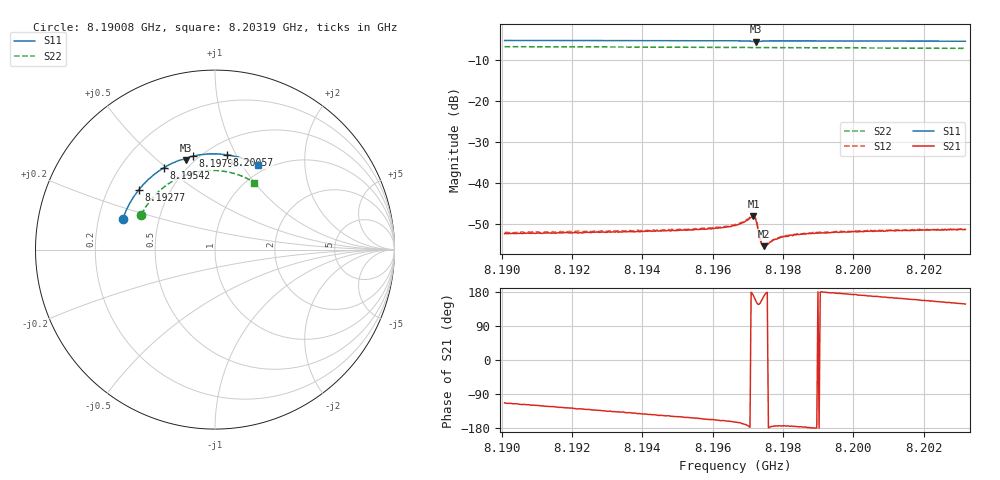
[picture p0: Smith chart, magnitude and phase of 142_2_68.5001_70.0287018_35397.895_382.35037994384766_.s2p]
#  HZ  S  RI  R  50.00
! Rohde & Schwarz Vector Network Analyzer
! Rohde-Schwarz,ZNB20-2Port,1311601062101988,3.16
! Created: UTC 3/20/2024, 4:54:55 PM
! freq[Hz]  re:S11  im:S11  re:S21  im:S21  re:S12  im:S12  re:S22  im:S22
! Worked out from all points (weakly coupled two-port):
!   401 points, 8.19008 GHz to 8.20319 GHz, reference 50 ohm
!   highest |S21| = -48.19 dB at 8.19716 GHz (marker M1); lowest = -55.4 dB at 8.19745 GHz (marker M2)
!   lowest |S11| = -5.6 dB at 8.19722 GHz (marker M3), VSWR 3.19, Z = 22.7 + j31.1 ohm
!   |S11| at or under -10 dB: nowhere
!   |S22| runs from -7.3 to -6.8 dB; largest |S21 - S12| = 0.00022
!   S11 on the Smith chart (normalised r, x): 8.19008 GHz: 0.30, +0.15; 8.19277 GHz: 0.33, +0.31; 8.19542 GHz: 0.38, +0.49; 8.19795 GHz: 0.47, +0.68; 8.20057 GHz: 0.62, +0.92; 8.20319 GHz: 0.90, +1.18
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8.190078e9  -0.5136 0.1699  -0.000943 -0.0022  -0.00105 -0.00225  -0.4104 0.1953
8.192274e9  -0.444 0.3071  -0.00154 -0.00191  -0.00167 -0.00191  -0.3417 0.2957
8.192766e9  -0.4232 0.3347  -0.00169 -0.00184  -0.00181 -0.00181  -0.3228 0.3152
8.19447e9  -0.338 0.419  -0.00216 -0.00142  -0.00227 -0.00144  -0.2484 0.3738
8.195421e9  -0.2827 0.4573  -0.00237 -0.00121  -0.00245 -0.00116  -0.2018 0.3992
8.196208e9  -0.2333 0.4835  -0.00264 -0.000974  -0.00275 -0.000923  -0.161 0.4161
8.196634e9  -0.2046 0.4954  -0.00289 -0.000839  -0.00302 -0.000745  -0.1383 0.4234
8.196863e9  -0.1876 0.5007  -0.00321 -0.000656  -0.00329 -0.000579  -0.1258 0.4269
8.197093e9  -0.1689 0.5022  -0.00378 8.09e-05  -0.00389 0.000243  -0.1133 0.4299
8.197158e9  -0.1643 0.4999  -0.00384 0.000678  -0.00383 0.000871  -0.1096 0.4305
8.197224e9  -0.163 0.4967  -0.00328 0.00141  -0.00331 0.00159  -0.1062 0.4311
8.197355e9  -0.1638 0.5021  -0.00175 0.000971  -0.00174 0.00108  -0.0991 0.4328
8.197388e9  -0.1622 0.5045  -0.00166 0.000699  -0.00166 0.000777  -0.0974 0.4333
8.197453e9  -0.1579 0.508  -0.00166 0.000339  -0.0017 0.000427  -0.0938 0.434
8.197519e9  -0.153 0.5109  -0.00172 9.03e-05  -0.00178 0.000177  -0.0901 0.4345
8.197716e9  -0.1384 0.5165  -0.00199 -0.000169  -0.00202 -5.53e-05  -0.0791 0.4364
8.197945e9  -0.1216 0.521  -0.00218 -0.000222  -0.0022 -0.000162  -0.0663 0.4382
8.198404e9  -0.0889 0.5275  -0.00234 -0.000176  -0.00239 -7.24e-05  -0.0405 0.4406
8.19883e9  -0.0588 0.5312  -0.00242 -4.75e-05  -0.00247 -3.95e-06  -0.0164 0.4414
8.200568e9  0.0642 0.5287  -0.0025 0.000538  -0.00253 0.000639  0.0816 0.4307
8.201027e9  0.0961 0.5233  -0.00252 0.000713  -0.00253 0.000773  0.1068 0.4243
8.20319e9  0.2397 0.4718  -0.00228 0.00144  -0.00224 0.00154  0.2193 0.3737
